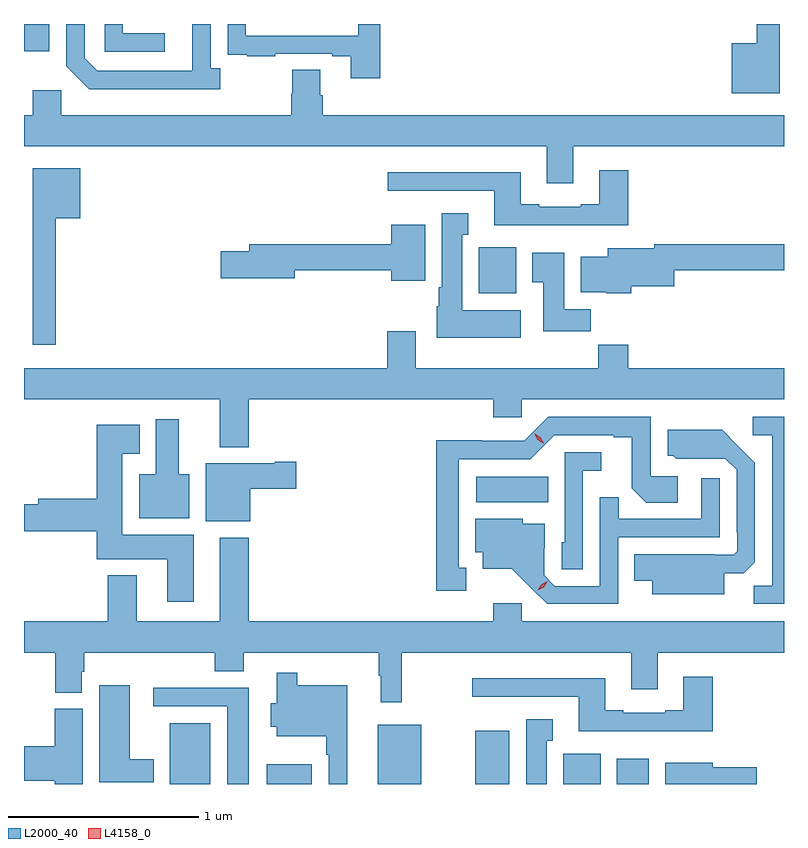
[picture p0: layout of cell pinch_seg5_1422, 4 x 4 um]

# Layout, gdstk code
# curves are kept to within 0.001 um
import gdstk
lib = gdstk.Library(unit=1e-6, precision=1e-09)
def R(c, l, rs):  # rectangles x0, y0, x1, y1
    for r in rs: c.add(gdstk.rectangle(r[:2], r[2:], *l))
def P(c, l, *ps):  # polygons
    for p in ps: c.add(gdstk.Polygon(p, *l))
L2000_40 = (2000, 40)
L4158_0 = (4158, 0)

pinch_seg5_1422 = lib.new_cell('pinch_seg5_1422')
R(pinch_seg5_1422, L2000_40, [(113.342,886.704,113.554,887.023), (113.852,886.704,114.088,886.807), (114.437,886.704,114.664,887.017), (114.95,886.704,115.129,886.984), (115.412,886.704,115.609,886.864), (115.694,886.704,115.861,886.837), (114.954,888.188,115.334,888.322), (114.968,889.286,115.165,889.528), (112.574,890.561,112.708,890.704)])
P(pinch_seg5_1422, L2000_40, [(113.608,890.47),(113.556,890.47),(113.556,890.704),(113.46,890.704),(113.459,890.457),(112.959,890.457),(112.893,890.523),(112.893,890.704),(112.797,890.704),(112.797,890.481),(112.918,890.36),(113.608,890.36)],
  [(114.449,890.704),(114.333,890.704),(114.333,890.643),(113.742,890.643),(113.742,890.704),(113.646,890.704),(113.646,890.65),(113.647,890.65),(113.647,890.541),(113.749,890.541),(113.749,890.535),(113.897,890.535),(113.897,890.547),(114.197,890.547),(114.197,890.535),(114.293,890.535),(114.293,890.418),(114.449,890.418)],
  [(116.551,890.704),(116.43,890.704),(116.43,890.602),(116.3,890.602),(116.3,890.339),(116.551,890.339)],
  [(113.314,890.655),(113.094,890.655),(113.094,890.704),(112.998,890.704),(112.998,890.559),(113.314,890.559)],
  [(115.465,890.06),(116.574,890.06),(116.574,890.224),(114.146,890.224),(114.146,890.33),(114.133,890.33),(114.133,890.462),(113.986,890.462),(113.986,890.337),(113.981,890.337),(113.981,890.224),(112.77,890.224),(112.77,890.356),(112.619,890.356),(112.619,890.224),(112.574,890.224),(112.574,890.06),(115.325,890.06),(115.325,889.866),(115.465,889.866)],
  [(112.741,889.682),(112.87,889.682),(112.87,889.945),(112.619,889.945),(112.619,889.017),(112.741,889.017)],
  [(115.754,889.933),(115.601,889.933),(115.601,889.756),(115.505,889.756),(115.505,889.743),(115.285,889.743),(115.285,889.756),(115.189,889.756),(115.189,889.924),(114.489,889.924),(114.489,889.827),(115.049,889.827),(115.049,889.646),(115.754,889.646)],
  [(115.189,889.198),(114.88,889.198),(114.88,889.595),(114.913,889.595),(114.913,889.708),(114.773,889.708),(114.773,889.318),(114.758,889.318),(114.758,889.218),(114.746,889.218),(114.746,889.052),(115.189,889.052)],
  [(114.685,889.648),(114.506,889.648),(114.506,889.544),(113.759,889.544),(113.759,889.508),(113.61,889.508),(113.61,889.366),(113.998,889.366),(113.998,889.408),(114.506,889.408),(114.506,889.352),(114.685,889.352)],
  [(115.769,889.325),(115.996,889.325),(115.996,889.408),(116.574,889.408),(116.574,889.544),(115.892,889.544),(115.892,889.525),(115.646,889.525),(115.646,889.48),(115.505,889.48),(115.505,889.292),(115.638,889.292),(115.638,889.286),(115.769,889.286)],
  [(115.556,889.204),(115.417,889.204),(115.417,889.501),(115.25,889.501),(115.25,889.345),(115.307,889.345),(115.307,889.086),(115.556,889.086)],
  [(113.756,888.728),(115.043,888.728),(115.043,888.635),(115.194,888.635),(115.194,888.728),(116.574,888.728),(116.574,888.892),(115.754,888.892),(115.754,889.016),(115.597,889.016),(115.597,888.892),(114.637,888.892),(114.637,889.087),(114.485,889.087),(114.485,888.892),(112.574,888.892),(112.574,888.728),(113.603,888.728),(113.603,888.476),(113.756,888.476)],
  [(114.901,887.841),(114.862,887.841),(114.862,888.414),(115.239,888.414),(115.365,888.54),(115.679,888.54),(115.679,888.528),(115.773,888.528),(115.773,888.26),(115.849,888.184),(116.014,888.184),(116.014,888.324),(115.872,888.324),(115.872,888.636),(115.332,888.636),(115.206,888.51),(114.984,888.51),(114.984,888.512),(114.744,888.512),(114.744,887.721),(114.901,887.721)],
  [(116.574,888.636),(116.409,888.636),(116.409,888.54),(116.511,888.54),(116.511,887.747),(116.416,887.747),(116.416,887.652),(116.574,887.652)],
  [(113.443,888.334),(113.389,888.334),(113.389,888.625),(113.267,888.625),(113.267,888.334),(113.18,888.334),(113.18,888.104),(113.443,888.104)],
  [(113.467,888.016),(113.092,888.016),(113.092,888.443),(113.182,888.443),(113.182,888.595),(112.958,888.595),(112.958,888.206),(112.649,888.206),(112.649,888.176),(112.574,888.176),(112.574,888.034),(112.958,888.034),(112.958,887.888),(113.327,887.888),(113.327,887.664),(113.467,887.664)],
  [(116.26,887.813),(116.362,887.813),(116.421,887.872),(116.421,888.394),(116.249,888.568),(115.961,888.568),(115.961,888.432),(115.992,888.432),(116.008,888.416),(116.265,888.417),(116.325,888.357),(116.325,888.028),(116.328,888.028),(116.328,887.928),(116.31,887.91),(116.21,887.91),(116.21,887.914),(115.786,887.914),(115.786,887.774),(115.88,887.774),(115.88,887.702),(116.26,887.702)],
  [(115.515,888.353),(115.612,888.353),(115.612,888.45),(115.419,888.45),(115.419,887.976),(115.404,887.976),(115.404,887.833),(115.515,887.833)],
  [(113.764,888.257),(114.007,888.257),(114.007,888.399),(113.894,888.399),(113.894,888.391),(113.531,888.391),(113.531,888.086),(113.764,888.086)],
  [(115.701,888.003),(116.235,888.003),(116.235,888.313),(116.139,888.313),(116.139,888.099),(115.703,888.099),(115.703,888.212),(115.605,888.212),(115.605,887.745),(115.368,887.745),(115.311,887.802),(115.311,887.944),(115.315,887.944),(115.315,888.073),(115.2,888.073),(115.2,888.1),(114.95,888.1),(114.95,887.924),(114.989,887.924),(114.989,887.837),(115.141,887.837),(115.328,887.652),(115.701,887.652)],
  [(114.562,887.396),(115.769,887.396),(115.769,887.202),(115.909,887.202),(115.909,887.396),(116.574,887.396),(116.574,887.56),(115.194,887.56),(115.194,887.656),(115.043,887.656),(115.043,887.56),(113.756,887.56),(113.756,888.001),(113.603,888.001),(113.603,887.56),(113.167,887.56),(113.167,887.803),(113.015,887.803),(113.015,887.56),(112.574,887.56),(112.574,887.396),(112.739,887.396),(112.739,887.185),(112.879,887.185),(112.879,887.295),(112.892,887.295),(112.892,887.396),(113.579,887.396),(113.579,887.297),(113.731,887.297),(113.731,887.396),(114.441,887.396),(114.441,887.273),(114.452,887.273),(114.452,887.133),(114.562,887.133)],
  [(114.274,887.224),(114.013,887.224),(114.013,887.29),(113.903,887.29),(113.903,887.128),(113.873,887.128),(113.873,887.006),(113.903,887.006),(113.903,886.955),(114.165,886.955),(114.165,886.859),(114.177,886.859),(114.177,886.704),(114.274,886.704)],
  [(116.198,887.269),(116.045,887.269),(116.045,887.092),(115.949,887.092),(115.949,887.079),(115.729,887.079),(115.729,887.092),(115.633,887.092),(115.633,887.26),(114.933,887.26),(114.933,887.163),(115.493,887.163),(115.493,886.982),(116.198,886.982)],
  [(113.257,886.834),(113.131,886.834),(113.131,887.224),(112.97,887.224),(112.97,886.712),(113.257,886.712)],
  [(113.758,887.21),(113.253,887.21),(113.253,887.112),(113.645,887.112),(113.645,886.704),(113.758,886.704)],
  [(112.882,887.1),(112.736,887.1),(112.736,886.904),(112.574,886.904),(112.574,886.721),(112.736,886.721),(112.736,886.704),(112.882,886.704)],
  [(115.324,886.931),(115.357,886.931),(115.357,887.044),(115.217,887.044),(115.217,886.704),(115.324,886.704)],
  [(116.431,886.793),(116.2,886.793),(116.2,886.816),(115.949,886.816),(115.949,886.704),(116.431,886.704)])
P(pinch_seg5_1422, L4158_0, [(115.278,887.725),(115.278,887.725),(115.296,887.754),(115.327,887.77),(115.328,887.77),(115.328,887.769),(115.31,887.74),(115.278,887.725)],
  [(115.308,888.497),(115.277,888.516),(115.259,888.549),(115.259,888.549),(115.26,888.549),(115.291,888.53),(115.309,888.498),(115.309,888.497)])

lib.write_gds('pinch_seg5_1422.gds')
